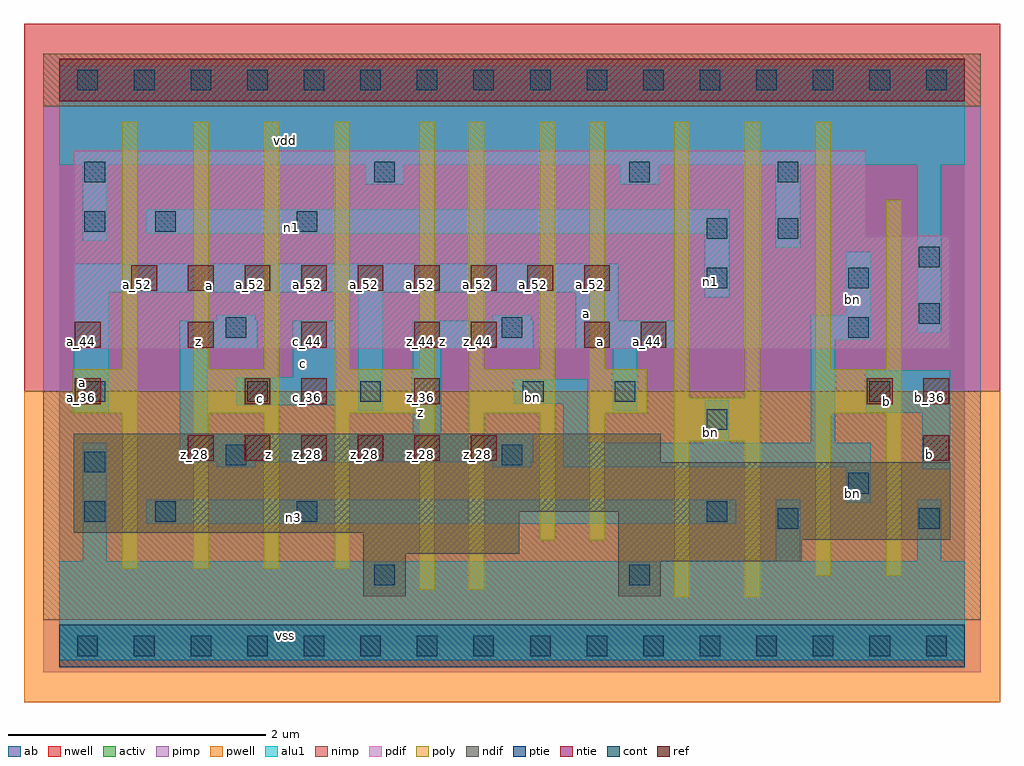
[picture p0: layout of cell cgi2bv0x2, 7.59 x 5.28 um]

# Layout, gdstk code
import gdstk
lib = gdstk.Library(unit=1e-6, precision=2.5e-09)
def R(c, l, rs):  # rectangles x0, y0, x1, y1
    for r in rs: c.add(gdstk.rectangle(r[:2], r[2:], *l))
def A(c, l, x, y, w, h, nx, ny, dx, dy):  # array of equal rectangles
    R(c, l, [(x+i*dx, y+j*dy, x+i*dx+w, y+j*dy+h) for i in range(nx) for j in range(ny)])
ndif = (3, 0)
pdif = (4, 0)
ntie = (5, 0)
ptie = (6, 0)
ref = (24, 0)
cont = (25, 0)
pwell = (41, 0)
nwell = (42, 0)
activ = (43, 0)
pimp = (44, 0)
nimp = (45, 0)
poly = (46, 0)
alu1 = (49, 0)
ab = (63, 0)

cgi2bv0x2 = lib.new_cell('cgi2bv0x2')
R(cgi2bv0x2, ndif, [(2.365,0.385,2.695,0.715), (4.345,0.385,4.675,0.66), (4.345,0.66,5.775,0.825), (2.365,0.715,3.575,0.88), (4.345,0.825,6.93,1.045), (0.11,0.88,3.575,1.045), (0.11,1.045,6.93,1.43), (0.11,1.43,4.675,1.65)])
R(cgi2bv0x2, pdif, [(0.11,2.31,6.93,3.19), (0.11,3.19,6.27,3.85)])
R(cgi2bv0x2, ntie, [(0,4.235,7.04,4.565)])
R(cgi2bv0x2, ptie, [(0,-0.165,7.04,0.165)])
A(cgi2bv0x2, ref, 1, 1.44, 0.2, 0.2, 6, 1, 0.44, 0)
A(cgi2bv0x2, ref, 0.12, 2.32, 0.2, 0.2, 4, 1, 0.88, 0)
A(cgi2bv0x2, ref, 0.56, 2.76, 0.2, 0.2, 9, 1, 0.44, 0)
R(cgi2bv0x2, ref, [(6.72,1.44,6.92,1.64), (0.12,1.88,0.32,2.08), (1.44,1.88,1.64,2.08), (1.88,1.88,2.08,2.08), (2.76,1.88,2.96,2.08), (6.28,1.88,6.48,2.08), (6.72,1.88,6.92,2.08), (3.2,2.32,3.4,2.52), (4.08,2.32,4.28,2.52), (4.52,2.32,4.72,2.52)])
A(cgi2bv0x2, cont, 0.14, -0.08, 0.16, 0.16, 16, 2, 0.44, 4.4)
R(cgi2bv0x2, cont, [(2.45,0.47,2.61,0.63), (4.43,0.47,4.59,0.63), (5.585,0.91,5.745,1.07), (6.685,0.91,6.845,1.07), (0.195,0.965,0.355,1.125), (0.745,0.965,0.905,1.125), (1.845,0.965,2.005,1.125), (5.035,0.965,5.195,1.125), (6.135,1.185,6.295,1.345), (0.195,1.35,0.355,1.51), (1.295,1.405,1.455,1.565), (3.44,1.405,3.6,1.565), (5.035,1.68,5.195,1.84), (0.195,1.9,0.355,2.06), (1.46,1.9,1.62,2.06), (2.34,1.9,2.5,2.06), (3.605,1.9,3.765,2.06), (4.32,1.9,4.48,2.06), (6.3,1.9,6.46,2.06), (1.295,2.395,1.455,2.555), (3.44,2.395,3.6,2.555), (6.135,2.395,6.295,2.555), (6.685,2.505,6.845,2.665), (5.035,2.78,5.195,2.94), (6.135,2.78,6.295,2.94), (6.685,2.945,6.845,3.105), (5.035,3.165,5.195,3.325), (5.585,3.165,5.745,3.325), (0.195,3.22,0.355,3.38), (0.745,3.22,0.905,3.38), (1.845,3.22,2.005,3.38), (0.195,3.605,0.355,3.765), (2.45,3.605,2.61,3.765), (4.43,3.605,4.59,3.765), (5.585,3.605,5.745,3.765)])
R(cgi2bv0x2, pwell, [(-0.275,-0.44,7.315,1.98)])
R(cgi2bv0x2, nwell, [(-0.275,1.98,7.315,4.84)])
R(cgi2bv0x2, activ, [(0,-0.165,7.04,0.165), (2.365,0.385,2.695,0.715), (4.345,0.385,4.675,0.66), (4.345,0.66,5.775,0.825), (2.365,0.715,3.575,0.88), (4.345,0.825,6.93,1.045), (0.11,0.88,3.575,1.045), (0.11,1.045,6.93,1.43), (0.11,1.43,4.675,1.65), (0.11,2.31,6.93,3.19), (0.11,3.19,6.27,3.85), (0,4.235,7.04,4.565)])
R(cgi2bv0x2, pimp, [(-0.125,-0.205,7.165,0.205), (-0.125,1.98,7.165,4.195)])
R(cgi2bv0x2, nimp, [(-0.125,0.205,7.165,1.98), (-0.125,4.195,7.165,4.605)])
A(cgi2bv0x2, poly, 0.49, 0.6, 0.12, 1.21, 4, 1, 0.55, 0)
A(cgi2bv0x2, poly, 0.49, 2.15, 0.12, 1.925, 4, 1, 0.55, 0)
R(cgi2bv0x2, poly, [(4.78,0.38,4.9,1.59), (5.33,0.38,5.45,1.59), (2.8,0.435,2.92,1.81), (3.185,0.435,3.305,1.81), (5.88,0.545,6,1.81), (6.43,0.545,6.55,1.81), (3.735,0.82,3.855,1.81), (4.12,0.82,4.24,1.81), (4.78,1.59,5.45,1.93), (0.105,1.81,0.61,2.15), (1.04,1.81,1.71,2.15), (2.14,1.81,2.92,2.15), (3.185,1.81,3.855,2.15), (4.12,1.81,4.57,2.15), (5.88,1.81,6.55,2.15), (4.78,1.93,4.9,4.075), (5.33,1.93,5.45,4.075), (2.8,2.15,2.92,4.075), (3.185,2.15,3.305,4.075), (3.735,2.15,3.855,4.075), (4.12,2.15,4.24,4.075), (5.88,2.15,6,4.075), (6.43,2.15,6.55,3.47)])
R(cgi2bv0x2, alu1, [(0,-0.11,7.04,0.66), (0.18,0.66,0.37,1.58), (5.57,0.66,5.76,1.14), (6.67,0.66,6.86,1.14), (0.675,0.95,5.265,1.14), (6.12,1.115,6.31,1.39), (6.71,1.375,6.93,1.815), (1.225,1.39,1.525,1.43), (3.37,1.39,3.67,1.43), (3.92,1.39,6.31,1.58), (0.935,1.43,3.685,1.65), (3.92,1.58,4.11,1.885), (5.02,1.58,5.21,1.91), (5.845,1.58,6.035,2.38), (0.935,1.65,1.155,2.31), (2.75,1.65,2.97,2.31), (0.11,1.815,0.385,2.75), (6.27,1.815,6.93,2.145), (2.325,1.83,2.515,2.75), (4.305,1.83,4.495,2.31), (1.375,1.87,2.145,2.09), (3.535,1.885,4.11,2.075), (1.815,2.09,2.145,2.53), (0.935,2.31,1.54,2.53), (2.75,2.31,3.685,2.53), (4.015,2.31,4.785,2.53), (5.845,2.38,6.31,2.57), (6.67,2.435,6.86,3.74), (1.225,2.53,1.525,2.57), (3.37,2.53,3.67,2.57), (4.015,2.53,4.345,2.75), (6.12,2.57,6.31,3.065), (5.02,2.71,5.21,3.205), (0.11,2.75,4.345,2.97), (5.57,3.095,5.76,3.74), (0.18,3.15,0.37,3.74), (0.675,3.205,5.21,3.395), (2.38,3.59,2.68,3.74), (4.36,3.59,4.66,3.74), (0,3.74,7.04,4.51)])
R(cgi2bv0x2, ab, [(0,0,7.04,4.4)])
cgi2bv0x2.add(gdstk.Label('vss', (1.76,0.0825), layer=49, texttype=0))
cgi2bv0x2.add(gdstk.Label('b', (6.765,1.485), layer=49, texttype=0))
cgi2bv0x2.add(gdstk.Label('bn', (6.1675,1.1825), layer=49, texttype=0))
cgi2bv0x2.add(gdstk.Label('n3', (1.8225,0.9975), layer=49, texttype=0))
cgi2bv0x2.add(gdstk.Label('b', (6.435,1.8975), layer=49, texttype=0))
cgi2bv0x2.add(gdstk.Label('bn', (5.0675,1.6625), layer=49, texttype=0))
cgi2bv0x2.add(gdstk.Label('z', (1.6225,1.485), layer=49, texttype=0))
cgi2bv0x2.add(gdstk.Label('bn', (3.6775,1.9325), layer=49, texttype=0))
cgi2bv0x2.add(gdstk.Label('z', (2.805,1.815), layer=49, texttype=0))
cgi2bv0x2.add(gdstk.Label('a', (4.2075,2.365), layer=49, texttype=0))
cgi2bv0x2.add(gdstk.Label('z', (2.9825,2.365), layer=49, texttype=0))
cgi2bv0x2.add(gdstk.Label('bn', (6.1675,2.6925), layer=49, texttype=0))
cgi2bv0x2.add(gdstk.Label('n1', (5.0675,2.8325), layer=49, texttype=0))
cgi2bv0x2.add(gdstk.Label('a', (4.0975,2.585), layer=49, texttype=0))
cgi2bv0x2.add(gdstk.Label('c', (1.5675,1.925), layer=49, texttype=0))
cgi2bv0x2.add(gdstk.Label('c', (1.8975,2.2), layer=49, texttype=0))
cgi2bv0x2.add(gdstk.Label('z', (1.085,2.365), layer=49, texttype=0))
cgi2bv0x2.add(gdstk.Label('a', (0.1775,2.0475), layer=49, texttype=0))
cgi2bv0x2.add(gdstk.Label('a', (1.1675,2.805), layer=49, texttype=0))
cgi2bv0x2.add(gdstk.Label('n1', (1.8075,3.2525), layer=49, texttype=0))
cgi2bv0x2.add(gdstk.Label('vdd', (1.76,3.9325), layer=49, texttype=0))
cgi2bv0x2.add(gdstk.Label('b_36', (6.77,1.93), layer=24, texttype=0))
cgi2bv0x2.add(gdstk.Label('b_28', (6.77,1.49), layer=24, texttype=0))
cgi2bv0x2.add(gdstk.Label('b_36', (6.33,1.93), layer=24, texttype=0))
cgi2bv0x2.add(gdstk.Label('a_52', (0.61,2.81), layer=24, texttype=0))
cgi2bv0x2.add(gdstk.Label('z_28', (1.05,1.49), layer=24, texttype=0))
cgi2bv0x2.add(gdstk.Label('z_44', (1.05,2.37), layer=24, texttype=0))
cgi2bv0x2.add(gdstk.Label('a_52', (1.05,2.81), layer=24, texttype=0))
cgi2bv0x2.add(gdstk.Label('z_28', (1.49,1.49), layer=24, texttype=0))
cgi2bv0x2.add(gdstk.Label('c_36', (1.49,1.93), layer=24, texttype=0))
cgi2bv0x2.add(gdstk.Label('a_52', (1.49,2.81), layer=24, texttype=0))
cgi2bv0x2.add(gdstk.Label('z_28', (1.93,1.49), layer=24, texttype=0))
cgi2bv0x2.add(gdstk.Label('c_36', (1.93,1.93), layer=24, texttype=0))
cgi2bv0x2.add(gdstk.Label('c_44', (1.93,2.37), layer=24, texttype=0))
cgi2bv0x2.add(gdstk.Label('a_52', (1.93,2.81), layer=24, texttype=0))
cgi2bv0x2.add(gdstk.Label('a_36', (0.17,1.93), layer=24, texttype=0))
cgi2bv0x2.add(gdstk.Label('a_44', (0.17,2.37), layer=24, texttype=0))
cgi2bv0x2.add(gdstk.Label('z_28', (2.37,1.49), layer=24, texttype=0))
cgi2bv0x2.add(gdstk.Label('a_52', (2.37,2.81), layer=24, texttype=0))
cgi2bv0x2.add(gdstk.Label('z_28', (2.81,1.49), layer=24, texttype=0))
cgi2bv0x2.add(gdstk.Label('z_36', (2.81,1.93), layer=24, texttype=0))
cgi2bv0x2.add(gdstk.Label('z_44', (2.81,2.37), layer=24, texttype=0))
cgi2bv0x2.add(gdstk.Label('a_52', (2.81,2.81), layer=24, texttype=0))
cgi2bv0x2.add(gdstk.Label('z_28', (3.25,1.49), layer=24, texttype=0))
cgi2bv0x2.add(gdstk.Label('z_44', (3.25,2.37), layer=24, texttype=0))
cgi2bv0x2.add(gdstk.Label('a_52', (3.25,2.81), layer=24, texttype=0))
cgi2bv0x2.add(gdstk.Label('a_52', (3.69,2.81), layer=24, texttype=0))
cgi2bv0x2.add(gdstk.Label('a_44', (4.13,2.37), layer=24, texttype=0))
cgi2bv0x2.add(gdstk.Label('a_52', (4.13,2.81), layer=24, texttype=0))
cgi2bv0x2.add(gdstk.Label('a_44', (4.57,2.37), layer=24, texttype=0))

lib.write_gds('cgi2bv0x2.gds')
